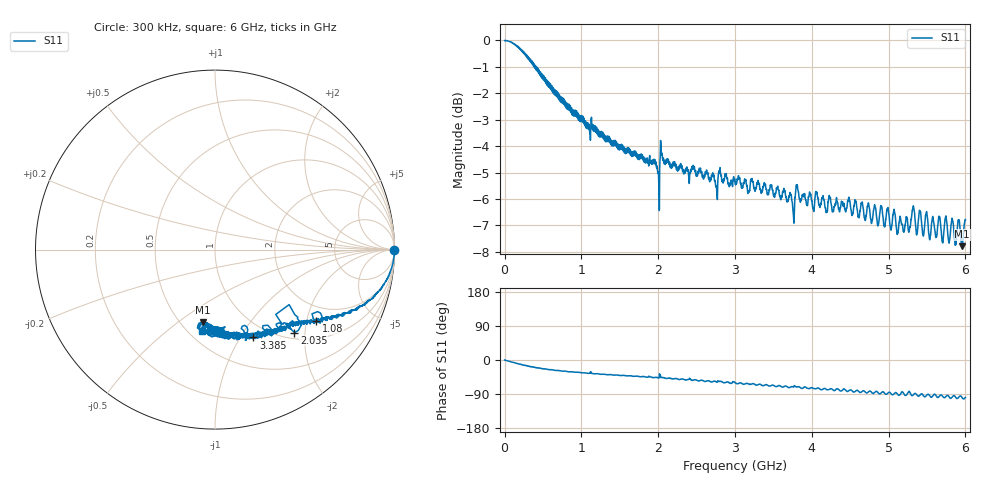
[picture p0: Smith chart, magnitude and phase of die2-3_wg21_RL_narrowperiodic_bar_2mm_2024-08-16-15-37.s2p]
!Keysight Technologies,P9374A,MY57304198,A.17.20.09
!Date: Friday, August 16, 2024 15:37:20
!Correction: S11(C  1-Port  )
!S21(C  1-Port  )
!S12(Off)
!S22(Off)
!S2P File: Measurements: S11, S21, S12, S22:
# Hz S  dB  R 50
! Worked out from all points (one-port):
!   6000 points, 300 kHz to 6 GHz, reference 50 ohm
!   lowest |S11| = -7.8 dB at 5.957 GHz (marker M1), VSWR 2.38, Z = 32.1 - j31 ohm
!   |S11| at or under -10 dB: nowhere
!   S11 on the Smith chart (normalised r, x): 300 kHz: open; 1.08 GHz: 1.50, -2.28; 2.035 GHz: 1.13, -1.76; 3.385 GHz: 0.83, -1.14; 6 GHz: 0.58, -0.67
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300000  -0.00 -0.0  -200.00 45.0  -200.00 45.0  -200.00 45.0
2.373277e8  -0.39 -12.6  -200.00 45.0  -200.00 45.0  -200.00 45.0
4.163485e8  -0.99 -20.0  -200.00 45.0  -200.00 45.0  -200.00 45.0
6.60377e8  -1.87 -27.1  -200.00 45.0  -200.00 45.0  -200.00 45.0
1.000417e9  -2.88 -33.9  -200.00 45.0  -200.00 45.0  -200.00 45.0
1.080426e9  -3.23 -35.3  -200.00 45.0  -200.00 45.0  -200.00 45.0
1.943527e9  -4.63 -46.4  -200.00 45.0  -200.00 45.0  -200.00 45.0
2.000533e9  -5.02 -47.2  -200.00 45.0  -200.00 45.0  -200.00 45.0
2.034537e9  -3.87 -46.2  -200.00 45.0  -200.00 45.0  -200.00 45.0
2.354575e9  -4.94 -52.7  -200.00 45.0  -200.00 45.0  -200.00 45.0
3.00065e9  -5.39 -59.5  -200.00 45.0  -200.00 45.0  -200.00 45.0
3.384695e9  -5.45 -66.3  -200.00 45.0  -200.00 45.0  -200.00 45.0
4.000767e9  -6.08 -73.2  -200.00 45.0  -200.00 45.0  -200.00 45.0
5.000883e9  -6.53 -85.4  -200.00 45.0  -200.00 45.0  -200.00 45.0
5.132899e9  -6.95 -93.4  -200.00 45.0  -200.00 45.0  -200.00 45.0
5.179904e9  -6.95 -84.4  -200.00 45.0  -200.00 45.0  -200.00 45.0
5.221909e9  -6.86 -93.6  -200.00 45.0  -200.00 45.0  -200.00 45.0
5.264914e9  -7.24 -82.6  -200.00 45.0  -200.00 45.0  -200.00 45.0
5.31792e9  -6.31 -92.8  -200.00 45.0  -200.00 45.0  -200.00 45.0
5.471938e9  -6.94 -97.1  -200.00 45.0  -200.00 45.0  -200.00 45.0
5.956995e9  -7.78 -99.3  -200.00 45.0  -200.00 45.0  -200.00 45.0
6e9  -6.78 -98.9  -200.00 45.0  -200.00 45.0  -200.00 45.0
